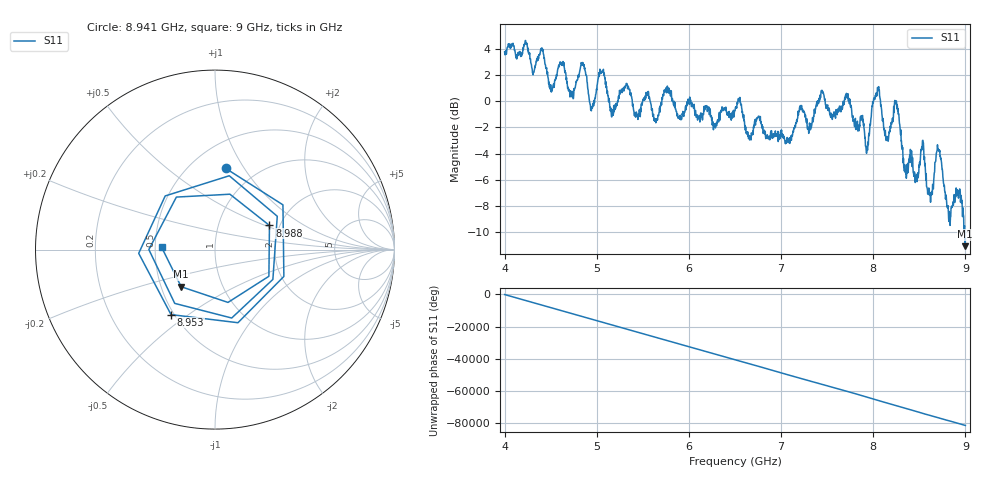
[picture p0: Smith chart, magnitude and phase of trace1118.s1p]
! Created with skrf 1.8.0 (http://scikit-rf.org).
# Hz S RI R 50.0
!freq ReS11 ImS11
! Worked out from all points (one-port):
!   1601 points, 4 GHz to 9 GHz, reference 50 ohm
!   lowest |S11| = -11.1 dB at 8.997 GHz (marker M1), VSWR 1.78, Z = 31.7 - j14.2 ohm
!   |S11| at or under -10 dB: 8.992729 GHz to end of sweep
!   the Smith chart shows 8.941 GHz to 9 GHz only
!   S11 on the Smith chart (normalised r, x): 8.941 GHz: 0.73, +0.83; 8.953 GHz: 0.48, -0.43; 8.988 GHz: 1.77, +0.53; 9 GHz: 0.54, +0.02
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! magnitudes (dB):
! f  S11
! 4 GHz  3.8
! 4.406 GHz  4.1
! 4.509 GHz  0.7
! 4.625 GHz  2.8
! 4.725 GHz  0.4
! 4.853 GHz  2.9
! 4.944 GHz  -0.5
! 5.047 GHz  2.1
! 5.166 GHz  -0.8
! 5.25 GHz  0.7
! 5.875 GHz  -1.0
! 6.5 GHz  -0.7
! 7.125 GHz  -2.6
! 7.75 GHz  -0.2
! 7.934 GHz  -3.5
! 8.041 GHz  0.6
! 8.147 GHz  -3.0
! 8.253 GHz  0.0
! 8.375 GHz  -4.7
! 8.538 GHz  -3.0
! 8.616 GHz  -7.0
! 8.709 GHz  -3.7
! 8.819 GHz  -9.1
! 8.941 GHz  -6.8
! 8.953 GHz  -7.2
! 8.988 GHz  -9.6
! 8.997 GHz  -11.1
! 9 GHz  -10.5
